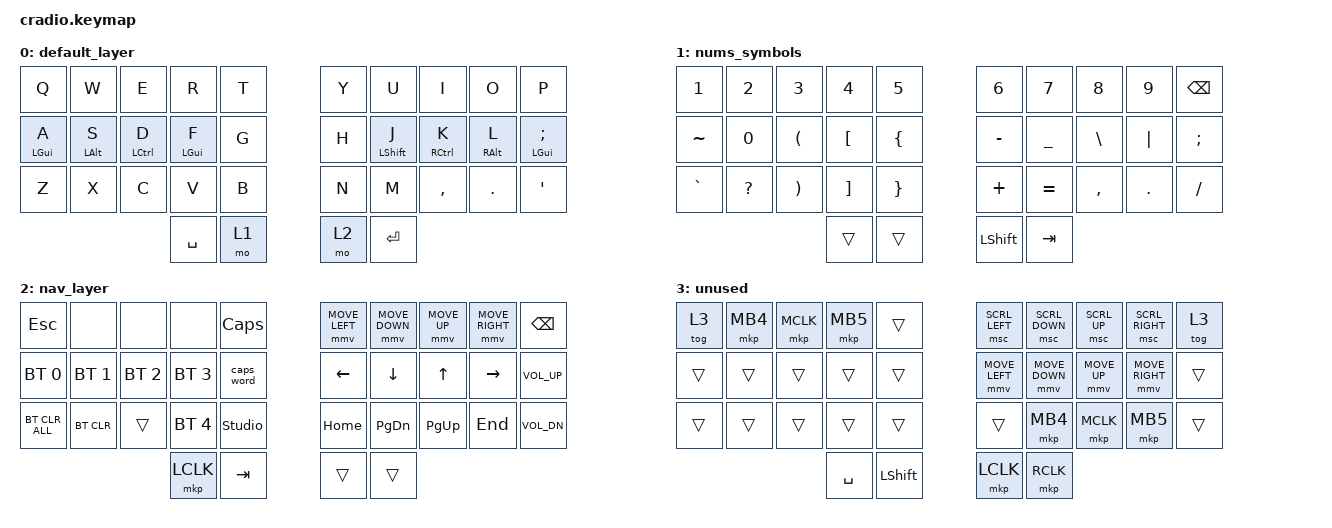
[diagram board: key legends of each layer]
// Copyright (c) 2022 The ZMK Contributors
// SPDX-License-Identifier: MIT

#define ZMK_MOUSE_DEFAULT_MOVE_VAL 2500  // 600
#define ZMK_MOUSE_DEFAULT_SCRL_VAL 20    // 10

#include <behaviors.dtsi>
#include <dt-bindings/zmk/bt.h>
#include <dt-bindings/zmk/keys.h>
#include <dt-bindings/zmk/outputs.h>
#include <dt-bindings/zmk/mouse.h>

#define DEF 0
#define NUM 1
#define NAV 2
#define UNU 3

/ {
    chosen { zmk,charmap = &charmap_us; };

    behaviors {
        ht: hold_tap {
            label = "hold_tap";
            compatible = "zmk,behavior-hold-tap";
            #binding-cells = <2>;
            flavor = "tap-preferred";
            tapping-term-ms = <220>;
            quick-tap-ms = <150>;
            global-quick-tap;
            bindings = <&kp>, <&kp>;
        };

        mmv {
            acceleration-exponent = <1>;      // 1
            time-to-max-speed-ms = <300>;    // 40
            delay-ms = <0>;                   // 0
        };

        msc {
            acceleration-exponent = <0>;      // 0
            time-to-max-speed-ms = <40>;      // 500
            delay-ms = <0>;                   // 10
        };
    };

    conditional_layers {
        compatible = "zmk,conditional-layers";

        tri_layer {
            if-layers = <2 3>;
            then-layer = <3>;
        };
    };

    keymap {
        compatible = "zmk,keymap";

        default_layer {
            bindings = <
&kp Q       &kp W       &kp E        &kp R       &kp T    &kp Y  &kp U        &kp I        &kp O       &kp P
&ht LGUI A  &ht LALT S  &ht LCTRL D  &ht LGUI F  &kp G    &kp H  &ht LSHFT J  &ht RCTRL K  &ht RALT L  &ht LEFT_GUI SEMICOLON
&kp Z       &kp X       &kp C        &kp V       &kp B    &kp N  &kp M        &kp COMMA    &kp DOT     &kp SQT
                                     &kp SPACE   &mo 1    &mo 2  &kp ENTER
            >;
        };

        nums_symbols {
            bindings = <
&kp NUMBER_1  &kp NUMBER_2  &kp NUMBER_3           &kp NUMBER_4       &kp N5             &kp NUMBER_6    &kp N7          &kp N8         &kp N9    &kp BACKSPACE
&kp TILDE     &kp N0        &kp LEFT_PARENTHESIS   &kp LEFT_BRACKET   &kp LEFT_BRACE     &kp MINUS       &kp UNDERSCORE  &kp BACKSLASH  &kp PIPE  &kp SEMICOLON
&kp GRAVE     &kp QUESTION  &kp RIGHT_PARENTHESIS  &kp RIGHT_BRACKET  &kp RIGHT_BRACE    &kp PLUS        &kp EQUAL       &kp COMMA      &kp DOT   &kp SLASH
                                                   &trans             &trans             &kp LEFT_SHIFT  &kp TAB
            >;
        };

        nav_layer {
            bindings = <
&kp ESCAPE      &none         &none         &none         &kp CAPSLOCK      &mmv MOVE_LEFT  &mmv MOVE_DOWN  &mmv MOVE_UP  &mmv MOVE_RIGHT  &kp BACKSPACE
&bt BT_SEL 0    &bt BT_SEL 1  &bt BT_SEL 2  &bt BT_SEL 3  &caps_word        &kp LEFT        &kp DOWN        &kp UP        &kp RIGHT        &kp C_VOLUME_UP
&bt BT_CLR_ALL  &bt BT_CLR    &trans        &bt BT_SEL 4  &studio_unlock    &kp HOME        &kp PG_DN       &kp PG_UP     &kp END          &kp C_VOL_DN
                                            &mkp LCLK     &kp TAB           &trans          &trans
            >;
        };

        unused {
            bindings = <
&tog 3  &mkp MB4  &mkp MCLK  &mkp MB5   &trans        &msc SCRL_LEFT  &msc SCRL_DOWN  &msc SCRL_UP  &msc SCRL_RIGHT  &tog 3
&trans  &trans    &trans     &trans     &trans        &mmv MOVE_LEFT  &mmv MOVE_DOWN  &mmv MOVE_UP  &mmv MOVE_RIGHT  &trans
&trans  &trans    &trans     &trans     &trans        &trans          &mkp MB4        &mkp MCLK     &mkp MB5         &trans
                             &kp SPACE  &kp LSHIFT    &mkp LCLK       &mkp RCLK
            >;
        };
    };
};
